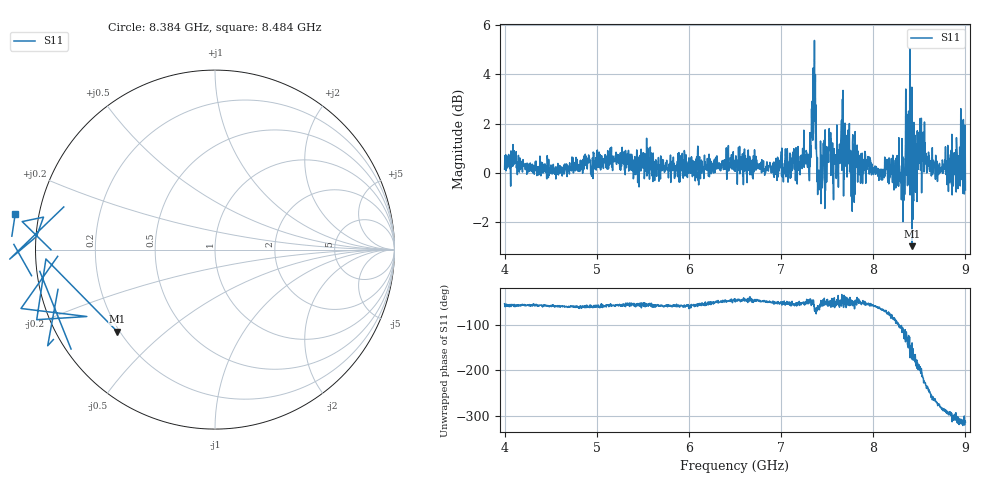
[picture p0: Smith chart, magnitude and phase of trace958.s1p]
! Created with skrf 1.8.0 (http://scikit-rf.org).
# Hz S RI R 50.0
!freq ReS11 ImS11
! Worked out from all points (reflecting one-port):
!   1601 points, 4 GHz to 9 GHz, reference 50 ohm
!   lowest |S11| = -3.0 dB at 8.422 GHz (marker M1), VSWR 5.91, Z = 9.55 - j17.7 ohm
!   phase of S11 starts at -54 deg and turns -260 deg over the sweep
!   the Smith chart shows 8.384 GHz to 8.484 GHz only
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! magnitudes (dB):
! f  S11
! 4 GHz  0.2
! 4.625 GHz  -0.1
! 5.25 GHz  0.1
! 5.875 GHz  0.5
! 6.5 GHz  0.4
! 7.125 GHz  0.8
! 7.297 GHz  0.6
! 7.356 GHz  3.5
! 7.409 GHz  0.1
! 7.512 GHz  1.0
! 7.588 GHz  0.5
! 7.672 GHz  3.3
! 7.75 GHz  0.3
! 7.775 GHz  1.2
! 8.097 GHz  0.1
! 8.294 GHz  -0.1
! 8.316 GHz  0.3
! 8.375 GHz  2.0
! 8.394 GHz  -0.5
! 8.412 GHz  -0.1
! 8.422 GHz  -3.0
! 8.447 GHz  1.5
! 8.459 GHz  -0.8
! 8.519 GHz  1.0
! 8.697 GHz  -0.3
! 8.875 GHz  0.8
! 8.972 GHz  0.2
! 9 GHz  -0.7
